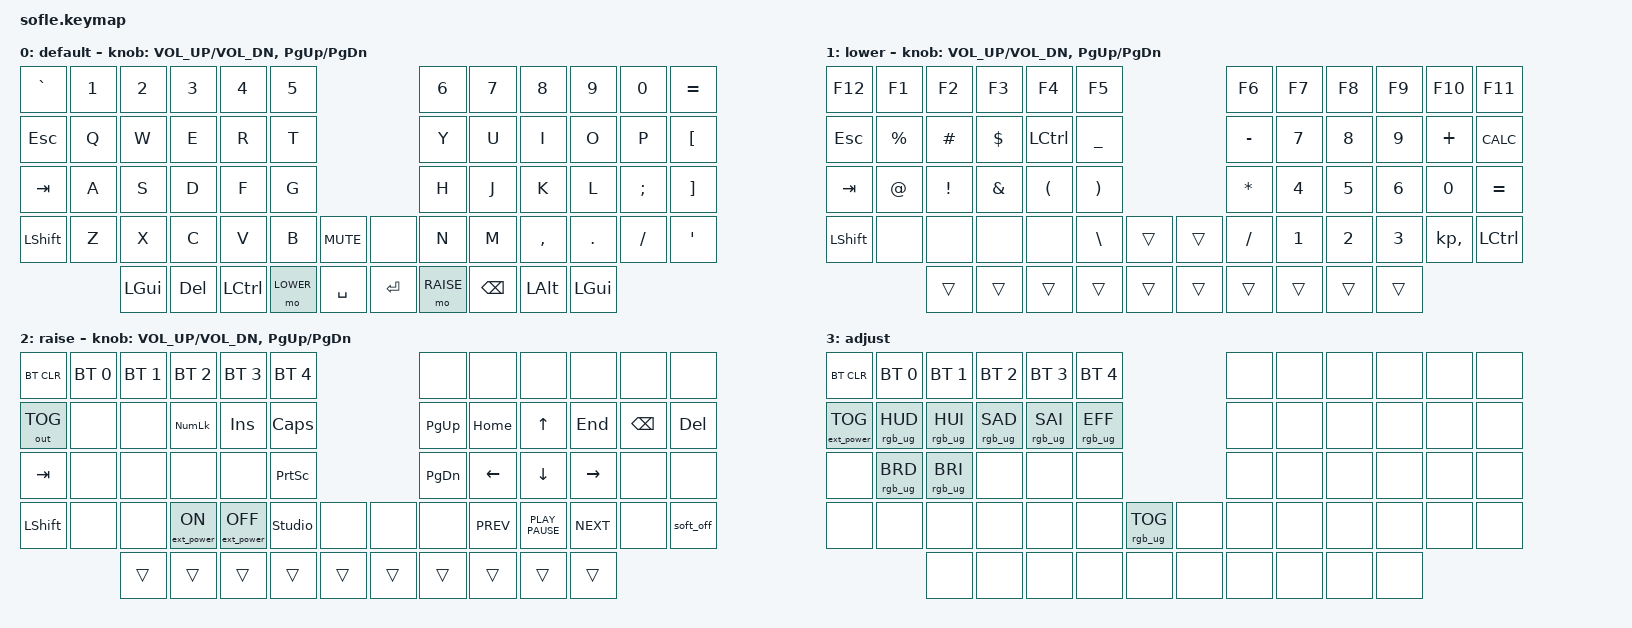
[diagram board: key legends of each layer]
/*
 * Copyright (c) 2020 The ZMK Contributors
 *
 * SPDX-License-Identifier: MIT
 */

#include <behaviors.dtsi>
#include <dt-bindings/zmk/bt.h>
#include <dt-bindings/zmk/ext_power.h>
#include <dt-bindings/zmk/keys.h>
#include <dt-bindings/zmk/outputs.h>
#include <dt-bindings/zmk/rgb.h>

#define BASE 0
#define LOWER 1
#define RAISE 2
#define ADJUST 3

/ {
    // Activate ADJUST layer by pressing raise and lower

    conditional_layers {
        compatible = "zmk,conditional-layers";

        adjust_layer {
            if-layers = <LOWER RAISE>;
            then-layer = <ADJUST>;
        };
    };

    keymap {
        compatible = "zmk,keymap";

        default_layer {
            display-name = "default";

            // ------------------------------------------------------------------------------------------------------------
            // |   `   |  1  |  2  |  3   |  4   |  5   |                   |  6   |  7    |  8    |  9   |   0   |       |
            // |  ESC  |  Q  |  W  |  E   |  R   |  T   |                   |  Y   |  U    |  I    |  O   |   P   | BKSPC |
            // |  TAB  |  A  |  S  |  D   |  F   |  G   |                   |  H   |  J    |  K    |  L   |   ;   |   '   |
            // | SHIFT |  Z  |  X  |  C   |  V   |  B   |  MUTE  |  |       |  N   |  M    |  ,    |  .   |   /   | SHIFT |
            //               | GUI | ALT  | CTRL | LOWER|  ENTER |  | SPACE | RAISE| CTRL  | ALT   | GUI  |

            bindings = <
&kp GRAVE  &kp N1  &kp N2    &kp N3      &kp N4     &kp N5                              &kp N6     &kp N7         &kp N8        &kp N9        &kp N0    &kp EQUAL
&kp ESC    &kp Q   &kp W     &kp E       &kp R      &kp T                               &kp Y      &kp U          &kp I         &kp O         &kp P     &kp LEFT_BRACKET
&kp TAB    &kp A   &kp S     &kp D       &kp F      &kp G                               &kp H      &kp J          &kp K         &kp L         &kp SEMI  &kp RIGHT_BRACKET
&kp LSHFT  &kp Z   &kp X     &kp C       &kp V      &kp B      &kp C_MUTE    &none      &kp N      &kp M          &kp COMMA     &kp DOT       &kp FSLH  &kp SQT
                   &kp LGUI  &kp DELETE  &kp LCTRL  &mo LOWER  &kp SPACE     &kp ENTER  &mo RAISE  &kp BACKSPACE  &kp LEFT_ALT  &kp LEFT_GUI
            >;

            sensor-bindings = <&inc_dec_kp C_VOL_UP C_VOL_DN &inc_dec_kp PG_UP PG_DN>;
        };

        lower_layer {
            display-name = "lower";

            // TODO: Some binds are waiting for shifted keycode support.
            // ------------------------------------------------------------------------------------------------------------
            // |       |  F1 |  F2 |  F3  |  F4  |  F5  |                   |  F6  |  F7   |  F8   |  F9  |  F10  |  F11  |
            // |   `   |  1  |  2  |  3   |  4   |  5   |                   |  6   |  7    |  8    |  9   |   0   |  F12  |
            // |       |  !  |  @  |  #   |  $   |  %   |                   |  ^   |  &    |  *    |  (   |   )   |   |   |
            // |       |  =  |  -  |  +   |  {   |  }   |        |  |       |  [   |  ]    |  ;    |  :   |   \   |       |
            //               |     |      |      |      |        |  |       |      |       |       |      |

            bindings = <
&kp F12         &kp F1       &kp F2           &kp F3         &kp F4                &kp F5                                   &kp F6        &kp F7        &kp F8        &kp F9        &kp F10       &kp F11
&kp ESC         &kp PERCENT  &kp HASH         &kp DOLLAR     &kp LCTRL             &kp UNDERSCORE                           &kp MINUS     &kp N7        &kp N8        &kp N9        &kp PLUS      &kp K_CALC
&kp TAB         &kp AT_SIGN  &kp EXCLAMATION  &kp AMPERSAND  &kp LEFT_PARENTHESIS  &kp RIGHT_PARENTHESIS                    &kp ASTERISK  &kp NUMBER_4  &kp NUMBER_5  &kp NUMBER_6  &kp NUMBER_0  &kp EQUAL
&kp LEFT_SHIFT  &none        &none            &none          &none                 &kp BACKSLASH          &trans    &trans  &kp SLASH     &kp NUMBER_1  &kp NUMBER_2  &kp NUMBER_3  &kp KP_COMMA  &kp LCTRL
                             &trans           &trans         &trans                &trans                 &trans    &trans  &trans        &trans        &trans        &trans
            >;

            sensor-bindings = <&inc_dec_kp C_VOL_UP C_VOL_DN &inc_dec_kp PG_UP PG_DN>;
        };

        raise_layer {
            display-name = "raise";

            // ------------------------------------------------------------------------------------------------------------
            // | BTCLR | BT1  | BT2  |  BT3  |  BT4  |  BT5 |                |      |      |       |      |       |       |
            // |       | INS  | PSCR | GUI   |       |      |                | PGUP |      |   ^   |      |       |       |
            // |       | ALT  | CTRL | SHIFT |       | CAPS |                | PGDN |   <- |   v   |  ->  |  DEL  | BKSPC |
            // |       | UNDO | CUT  | COPY  | PASTE |      |      |  |      |      |      |       |      |       |       |
            //                |      |       |       |      |      |  |      |      |      |       |      |

            bindings = <
&bt BT_CLR      &bt BT_SEL 0  &bt BT_SEL 1  &bt BT_SEL 2      &bt BT_SEL 3       &bt BT_SEL 4                       &none      &none       &none             &none       &none          &none
&out OUT_TOG    &none         &none         &kp KP_NUMLOCK    &kp INS            &kp CAPSLOCK                       &kp PG_UP  &kp HOME    &kp UP            &kp END     &kp BACKSPACE  &kp DELETE
&kp TAB         &none         &none         &none             &none              &kp PRINTSCREEN                    &kp PG_DN  &kp LEFT    &kp DOWN          &kp RIGHT   &none          &none
&kp LEFT_SHIFT  &none         &none         &ext_power EP_ON  &ext_power EP_OFF  &studio_unlock   &none     &none   &none      &kp K_PREV  &kp K_PLAY_PAUSE  &kp K_NEXT  &none          &soft_off
                              &trans        &trans            &trans             &trans           &trans    &trans  &trans     &trans      &trans            &trans
            >;

            sensor-bindings = <&inc_dec_kp C_VOL_UP C_VOL_DN &inc_dec_kp PG_UP PG_DN>;
        };

        adjust_layer {
            // ----------------------------------------------------------------------------------------------------------------------------
            // | BTCLR  |  BT1    |  BT2    |   BT3   |   BT4   |   BT5   |                  |      |      |       |      |       |       |
            // | EXTPWR | RGB_HUD | RGB_HUI | RGB_SAD | RGB_SAI | RGB_EFF |                  |      |      |       |      |       |       |
            // |        | RGB_BRD | RGB_BRI |         |         |         |                  |      |      |       |      |       |       |
            // |        |         |         |         |         |         | RGB_TOG | |      |      |      |       |      |       |       |
            //                    |         |         |         |         |         | |      |      |      |       |      |

            display-name = "adjust";
            bindings = <
&bt BT_CLR         &bt BT_SEL 0     &bt BT_SEL 1     &bt BT_SEL 2     &bt BT_SEL 3     &bt BT_SEL 4                               &none  &none  &none  &none  &none  &none
&ext_power EP_TOG  &rgb_ug RGB_HUD  &rgb_ug RGB_HUI  &rgb_ug RGB_SAD  &rgb_ug RGB_SAI  &rgb_ug RGB_EFF                            &none  &none  &none  &none  &none  &none
&none              &rgb_ug RGB_BRD  &rgb_ug RGB_BRI  &none            &none            &none                                      &none  &none  &none  &none  &none  &none
&none              &none            &none            &none            &none            &none            &rgb_ug RGB_TOG    &none  &none  &none  &none  &none  &none  &none
                                    &none            &none            &none            &none            &none              &none  &none  &none  &none  &none
            >;
        };
    };
};
